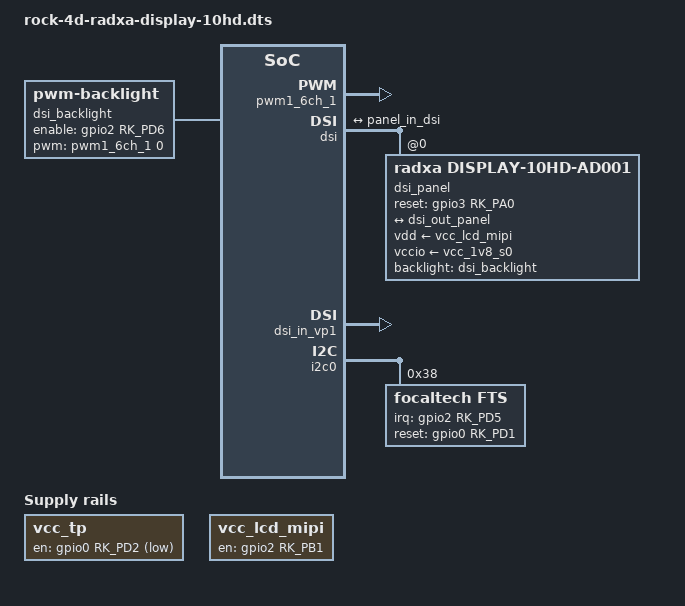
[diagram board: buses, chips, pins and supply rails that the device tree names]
/dts-v1/;
/plugin/;

#include <dt-bindings/interrupt-controller/irq.h>
#include <dt-bindings/gpio/gpio.h>
#include <dt-bindings/pinctrl/rockchip.h>
#include <dt-bindings/pwm/pwm.h>

/ {
	metadata {
		title ="Enable Radxa Display 10HD";
		compatible = "radxa,rock-4d";
		category = "display";
		exclusive = "GPIO0_D1", "GPIO2_D5", "GPIO2_D6", "GPIO3_A0", "dsi", "i2c0";
		description = "Enable Radxa Display 10HD.";
	};
};

&{/} {
	vcc_tp: vcc-tp {
		status = "okay";
		compatible = "regulator-fixed";
		regulator-name = "vcc_tp";
		gpio = <&gpio0 RK_PD2 GPIO_ACTIVE_LOW>;
		enable-active-low;
		regulator-boot-on;
		regulator-always-on;
	};

	vcc_lcd_mipi: vcc-lcd-mipi {
		status = "okay";
		compatible = "regulator-fixed";
		regulator-name = "vcc_lcd_mipi";
		gpio = <&gpio2 RK_PB1 GPIO_ACTIVE_HIGH>;
		enable-active-high;
		regulator-boot-on;
		regulator-always-on;
		regulator-state-mem {
			regulator-off-in-suspend;
		};
	};

	dsi_backlight: dsi-backlight {
		status = "okay";
		compatible = "pwm-backlight";
		pwms = <&pwm1_6ch_1 0 25000 PWM_POLARITY_INVERTED>;
		brightness-levels = <
			0  20  20  21  21  22  22  23
			23  24  24  25  25  26  26  27
			27  28  28  29  29  30  30  31
			31  32  32  33  33  34  34  35
			35  36  36  37  37  38  38  39
			40  41  42  43  44  45  46  47
			48  49  50  51  52  53  54  55
			56  57  58  59  60  61  62  63
			64  65  66  67  68  69  70  71
			72  73  74  75  76  77  78  79
			80  81  82  83  84  85  86  87
			88  89  90  91  92  93  94  95
			96  97  98  99 100 101 102 103
			104 105 106 107 108 109 110 111
			112 113 114 115 116 117 118 119
			120 121 122 123 124 125 126 127
			128 129 130 131 132 133 134 135
			136 137 138 139 140 141 142 143
			144 145 146 147 148 149 150 151
			152 153 154 155 156 157 158 159
			160 161 162 163 164 165 166 167
			168 169 170 171 172 173 174 175
			176 177 178 179 180 181 182 183
			184 185 186 187 188 189 190 191
			192 193 194 195 196 197 198 199
			200 201 202 203 204 205 206 207
			208 209 210 211 212 213 214 215
			216 217 218 219 220 221 222 223
			224 225 226 227 228 229 230 231
			232 233 234 235 236 237 238 239
			240 241 242 243 244 245 246 247
			248 249 250 251 252 253 254 255
		>;
		default-brightness-level = <200>;
		enable-gpios = <&gpio2 RK_PD6 GPIO_ACTIVE_HIGH>;
		pinctrl-names = "default";
		pinctrl-0 = <&dsi_backlight_en>;
	};
};

&pwm1_6ch_1 {
	status = "okay";
	pinctrl-0 = <&pwm1m0_ch1>;
};

&dsi {
	status = "okay";
	#address-cells = <1>;
	#size-cells = <0>;
	rockchip,lane-rate = <480>;

	dsi_panel: panel@0 {
		status = "okay";
		compatible = "radxa,display-10hd-ad001";
		reg = <0>;
		backlight = <&dsi_backlight>;

		vdd-supply = <&vcc_lcd_mipi>;
		vccio-supply = <&vcc_1v8_s0>;
		reset-gpios = <&gpio3 RK_PA0 GPIO_ACTIVE_HIGH>;
		pinctrl-names = "default";
		pinctrl-0 = <&dsi_lcd_rst_gpio>;

		ports {
			#address-cells = <1>;
			#size-cells = <0>;

			port@0 {
				reg = <0>;
				panel_in_dsi: endpoint {
					remote-endpoint = <&dsi_out_panel>;
				};
			};
		};
	};

	ports {
		#address-cells = <1>;
		#size-cells = <0>;

		port@1 {
			reg = <1>;
			dsi_out_panel: endpoint {
				remote-endpoint = <&panel_in_dsi>;
			};
		};
	};
};

&dsi_in_vp1 {
	status = "okay";
};

&i2c0 {
	status = "okay";
	pinctrl-names = "default";
	pinctrl-0 = <&i2c0m1_xfer>;
	#address-cells = <1>;
	#size-cells = <0>;

	focaltech: focaltech@38 {
		status = "okay";
		compatible = "focaltech,fts";
		reg = <0x38>;
		pinctrl-names = "default";
		pinctrl-0 = <&focaltech_gpio>;
		focaltech,irq-gpio = <&gpio2 RK_PD5 IRQ_TYPE_LEVEL_LOW>;
		focaltech,reset-gpio = <&gpio0 RK_PD1 GPIO_ACTIVE_HIGH>;
		focaltech,display-coords = <0 0 799 1279>;
	};
};

&pinctrl {
	dsi-lcd {
		dsi_lcd_rst_gpio: dsi-lcd-rst-gpio {
			rockchip,pins = <3 RK_PA0 RK_FUNC_GPIO &pcfg_pull_up>;
		};

		dsi_backlight_en: dsi-backlight-en {
			rockchip,pins = <2 RK_PD6 RK_FUNC_GPIO &pcfg_pull_up>;
		};
	};

	focaltech {
		focaltech_gpio: focaltech-gpio {
			rockchip,pins =
				<0 RK_PD1 RK_FUNC_GPIO &pcfg_pull_none>,
				<2 RK_PD5 RK_FUNC_GPIO &pcfg_pull_up>;
		};
	};
};
